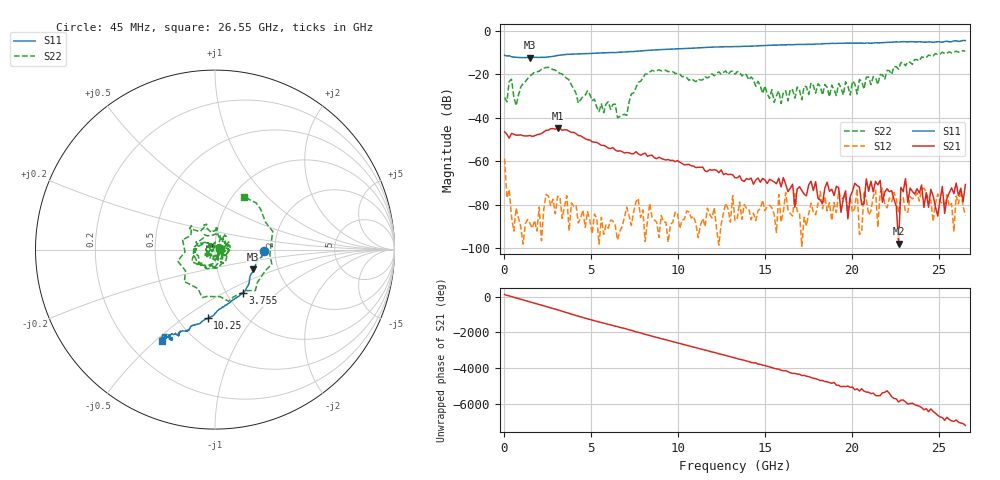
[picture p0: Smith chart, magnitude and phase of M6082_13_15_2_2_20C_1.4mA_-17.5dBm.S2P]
!  2-Port S-parameters saved by WinCal
! VAR MeasName=S-Parameters (CALIBRATED_DATA) read from VNA (C)
! VAR MeasDate=10/16/2015 12:36:04 PM
! VAR NAME=M6082_13_15_2_2_20C_1.4mA_-17.5dBm
! VAR FILENAME=M6082_13_15_2_2_20C_1.4mA_-17.5dBm.S2P
! VAR DATE=10/16/2015 12:36:04 PM
! VAR PHYS_PORTS=2,1
! VAR ObjTypeName=DATASET
! VAR IndexType=Frequency
# Hz S DB R 50
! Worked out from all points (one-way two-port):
!   201 points, 45 MHz to 26.55 GHz, reference 50 ohm
!   highest |S21| = -44.96 dB at 3.092 GHz (marker M1); lowest = -98.0 dB at 22.7 GHz (marker M2)
!   lowest |S11| = -12.4 dB at 1.502 GHz (marker M3), VSWR 1.63, Z = 74.6 - j17.5 ohm
!   |S11| at or under -10 dB: start of sweep to 6.504 GHz
!   |S22| runs from -40.1 to -9.2 dB; largest |S21 - S12| = 0.0057
!   S11 on the Smith chart (normalised r, x): 45 MHz: 1.74, -0.04; 3.755 GHz: 1.19, -0.63; 10.25 GHz: 0.69, -0.62; 26.55 GHz: 0.33, -0.53
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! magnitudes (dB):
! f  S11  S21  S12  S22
! 45 MHz  -11.3  -46.5  -58.9  -30.7
! 177.5 MHz  -11.6  -47.7  -76.9  -32.7
! 310 MHz  -11.5  -49.4  -73.1  -23.3
! 707.5 MHz  -12.2  -48.0  -81.5  -34.5
! 1.502 GHz  -12.4  -48.2  -88.6  -20.9
! 3.092 GHz  -11.4  -45.0  -76.2  -19.1
! 3.755 GHz  -10.8  -46.2  -92.0  -22.7
! 4.55 GHz  -10.6  -49.0  -82.5  -30.3
! 7.067 GHz  -9.8  -56.0  -81.2  -38.9
! 8.922 GHz  -8.8  -58.2  -95.1  -18.0
! 10.25 GHz  -8.3  -61.1  -87.2  -21.2
! 13.29 GHz  -7.3  -67.6  -87.4  -20.1
! 15.95 GHz  -6.5  -71.9  -88.0  -33.5
! 17.8 GHz  -6.2  -73.5  -83.4  -25.2
! 20.32 GHz  -5.7  -71.2  -72.7  -29.1
! 22.17 GHz  -5.4  -74.1  -76.9  -18.4
! 22.7 GHz  -5.2  -98.0  -84.0  -17.7
! 23.1 GHz  -5.1  -68.0  -83.5  -16.2
! 23.23 GHz  -5.1  -79.0  -83.5  -14.4
! 24.03 GHz  -5.1  -71.0  -73.3  -12.1
! 24.16 GHz  -5.3  -81.3  -72.4  -12.3
! 26.55 GHz  -4.6  -70.7  -84.9  -9.5
